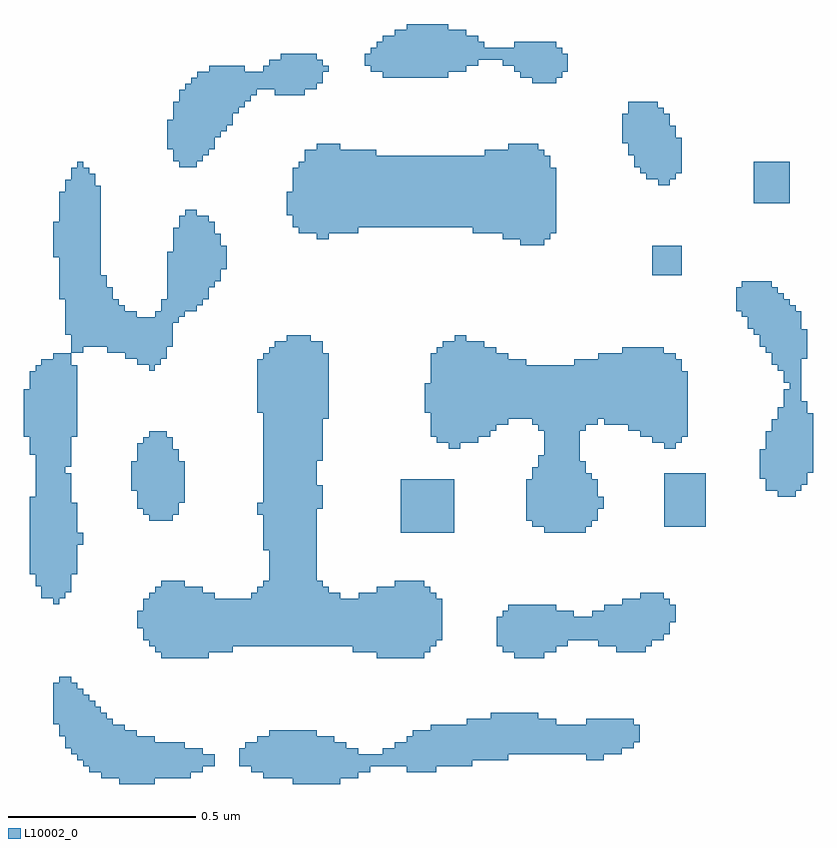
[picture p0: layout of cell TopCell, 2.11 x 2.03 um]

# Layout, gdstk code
import gdstk
lib = gdstk.Library(unit=1e-6, precision=1e-09)
def R(c, l, rs):  # rectangles x0, y0, x1, y1
    for r in rs: c.add(gdstk.rectangle(r[:2], r[2:], *l))
L10002_0 = (10002, 0)

topcell = lib.new_cell('TopCell')
R(topcell, L10002_0, [(0.976,0.736,1.071,0.752), (1.44,0.736,1.567,0.752), (0.928,0.752,1.167,0.768), (1.36,0.752,1.615,0.768), (0.896,0.768,1.199,0.784), (1.328,0.768,1.647,0.784), (1.744,0.768,1.823,0.784), (0.88,0.784,1.231,0.8), (1.296,0.784,1.919,0.815), (0.864,0.8,1.231,0.815), (1.919,0.8,2.015,0.815), (2.224,0.8,2.271,0.816), (0.864,0.815,1.199,0.816), (1.296,0.815,1.615,0.831), (1.68,0.815,2.015,0.831), (0.848,0.816,1.199,0.831), (2.015,0.816,2.319,0.831), (0.848,0.831,1.151,0.832), (1.312,0.831,1.583,0.847), (1.712,0.831,2.319,0.847), (0.832,0.832,1.151,0.847), (2.319,0.832,2.351,0.847), (0.832,0.847,1.071,0.863), (1.344,0.847,1.551,0.863), (1.744,0.847,2.351,0.863), (2.351,0.848,2.367,0.863), (0.832,0.863,1.023,0.864), (1.376,0.863,1.503,0.879), (1.76,0.863,2.367,0.879), (0.816,0.864,1.023,0.879), (0.816,0.879,0.991,0.895), (1.808,0.879,2.367,0.895), (0.816,0.895,0.959,0.896), (1.904,0.895,2.143,0.911), (2.224,0.895,2.351,0.911), (0.8,0.896,0.959,0.911), (0.8,0.911,0.943,0.927), (1.968,0.911,2.095,0.927), (0.8,0.927,0.927,0.943), (0.8,0.943,0.911,0.959), (0.8,0.959,0.895,0.975), (0.8,0.975,0.879,0.991), (0.8,0.991,0.863,1.007), (0.816,1.007,0.847,1.023), (1.088,1.072,1.215,1.088), (1.664,1.072,1.791,1.088), (2.032,1.072,2.111,1.088), (1.072,1.088,1.279,1.104), (1.6,1.088,1.807,1.104), (2,1.088,2.143,1.104), (2.304,1.088,2.383,1.104), (1.056,1.104,1.823,1.12), (1.984,1.104,2.175,1.183), (2.256,1.104,2.399,1.12), (1.04,1.12,1.839,1.152), (2.175,1.12,2.431,1.183), (2.431,1.136,2.447,1.183), (1.024,1.152,1.839,1.199), (2.447,1.168,2.463,1.183), (2,1.183,2.191,1.199), (2.24,1.183,2.463,1.199), (1.04,1.199,1.839,1.231), (2.016,1.199,2.143,1.215), (2.272,1.199,2.463,1.215), (2.32,1.215,2.447,1.231), (0.8,1.216,0.815,1.232), (1.056,1.231,1.231,1.247), (1.328,1.231,1.567,1.247), (1.616,1.231,1.823,1.247), (2.368,1.231,2.431,1.247), (0.768,1.232,0.831,1.264), (1.072,1.247,1.199,1.263), (1.344,1.247,1.535,1.263), (1.664,1.247,1.807,1.263), (0.831,1.248,0.847,1.264), (1.088,1.263,1.151,1.279), (1.36,1.263,1.519,1.279), (1.712,1.263,1.791,1.279), (0.752,1.264,0.847,1.296), (1.376,1.279,1.503,1.36), (0.736,1.296,0.863,1.487), (1.36,1.36,1.503,1.456), (0.863,1.376,0.879,1.407), (1.728,1.408,1.871,1.551), (2.112,1.408,2.223,1.424), (2.08,1.424,2.239,1.44), (2.432,1.424,2.543,1.567), (1.056,1.44,1.119,1.456), (2.064,1.44,2.255,1.551), (1.04,1.456,1.135,1.472), (1.344,1.456,1.503,1.487), (1.024,1.472,1.135,1.52), (1.503,1.472,1.519,1.487), (2.255,1.472,2.271,1.503), (0.736,1.487,0.847,1.503), (1.36,1.487,1.519,1.535), (1.135,1.488,1.151,1.52), (0.752,1.503,0.847,1.567), (2.736,1.504,2.783,1.52), (1.008,1.52,1.151,1.599), (2.704,1.52,2.799,1.552), (1.36,1.535,1.503,1.728), (2.799,1.536,2.815,1.552), (2.08,1.551,2.239,1.567), (2.688,1.552,2.815,1.631), (0.752,1.567,0.831,1.616), (2.08,1.567,2.223,1.583), (2.815,1.568,2.831,1.631), (2.096,1.583,2.223,1.599), (0.831,1.584,0.847,1.616), (1.024,1.599,1.135,1.631), (2.096,1.599,2.207,1.615), (1.503,1.6,1.519,1.728), (2.112,1.615,2.207,1.68), (0.736,1.616,0.847,1.664), (1.024,1.631,1.119,1.647), (2.704,1.631,2.831,1.679), (1.856,1.632,1.887,1.648), (2.432,1.632,2.463,1.648), (1.04,1.647,1.119,1.663), (1.824,1.648,1.935,1.664), (2.4,1.648,2.479,1.664), (1.056,1.663,1.103,1.679), (0.72,1.664,0.863,1.791), (1.808,1.664,1.967,1.728), (2.368,1.664,2.495,1.68), (2.72,1.679,2.831,1.711), (1.967,1.68,1.983,1.728), (2.096,1.68,2.223,1.696), (2.336,1.68,2.495,1.696), (1.983,1.696,2.015,1.728), (2.08,1.696,2.255,1.712), (2.272,1.696,2.495,1.712), (2.736,1.711,2.831,1.727), (1.519,1.712,1.535,1.728), (2.015,1.712,2.495,1.728), (2.736,1.727,2.815,1.743), (1.344,1.728,1.535,1.871), (1.792,1.728,2.495,1.807), (2.752,1.743,2.815,1.759), (2.752,1.759,2.799,1.791), (0.736,1.791,0.863,1.839), (2.768,1.791,2.799,1.808), (1.808,1.807,2.495,1.839), (2.752,1.808,2.799,1.84), (0.752,1.839,0.863,1.855), (1.808,1.839,2.479,1.855), (1.056,1.84,1.071,1.856), (2.736,1.84,2.799,1.856), (0.768,1.855,0.847,1.871), (1.808,1.855,2.063,1.871), (2.192,1.855,2.479,1.871), (1.024,1.856,1.087,1.872), (2.72,1.856,2.799,1.888), (0.8,1.871,0.847,1.887), (1.36,1.871,1.535,1.887), (1.808,1.871,2.015,1.887), (2.256,1.871,2.463,1.887), (0.992,1.872,1.103,1.888), (2.799,1.872,2.815,1.888), (1.376,1.887,1.519,1.903), (1.824,1.887,1.983,1.903), (2.32,1.887,2.431,1.903), (0.848,1.888,0.879,1.936), (0.944,1.888,1.103,1.904), (2.704,1.888,2.815,1.904), (1.392,1.903,1.519,1.919), (1.84,1.903,1.951,1.919), (0.879,1.904,1.119,1.936), (2.688,1.904,2.815,1.936), (1.424,1.919,1.487,1.935), (1.872,1.919,1.903,1.935), (0.832,1.936,1.119,1.983), (2.672,1.936,2.815,1.951), (2.672,1.951,2.799,1.952), (2.656,1.952,2.799,1.984), (1.119,1.968,1.135,1.983), (0.832,1.983,1.023,1.999), (1.072,1.983,1.135,1.999), (1.135,1.984,1.151,1.999), (2.64,1.984,2.799,1.999), (0.832,1.999,0.991,2.015), (1.088,1.999,1.151,2.031), (2.64,1.999,2.783,2), (1.151,2,1.183,2.031), (2.624,2,2.783,2.015), (0.832,2.015,0.975,2.031), (2.624,2.015,2.767,2.031), (1.183,2.016,1.199,2.031), (0.832,2.031,0.959,2.032), (1.104,2.031,1.199,2.159), (2.624,2.031,2.751,2.047), (0.816,2.032,0.959,2.063), (1.199,2.032,1.215,2.159), (2.624,2.047,2.735,2.063), (0.816,2.063,0.943,2.095), (2.64,2.063,2.719,2.079), (1.215,2.064,1.231,2.159), (1.231,2.08,1.247,2.159), (0.816,2.095,0.927,2.144), (2.4,2.096,2.479,2.175), (1.247,2.112,1.263,2.159), (0.8,2.144,0.927,2.239), (1.12,2.159,1.263,2.175), (1.12,2.175,1.247,2.207), (2.048,2.176,2.111,2.192), (1.504,2.192,1.535,2.208), (2,2.192,2.127,2.208), (1.12,2.207,1.231,2.223), (1.456,2.208,1.615,2.224), (1.92,2.208,2.143,2.224), (1.136,2.223,1.231,2.239), (1.44,2.224,2.143,2.256), (0.816,2.239,0.927,2.319), (1.136,2.239,1.215,2.255), (1.152,2.255,1.183,2.271), (1.424,2.256,2.143,2.319), (2.672,2.288,2.767,2.399), (0.832,2.319,0.927,2.335), (1.44,2.319,2.143,2.383), (0.832,2.335,0.911,2.351), (2.416,2.336,2.447,2.352), (0.848,2.351,0.911,2.367), (2.384,2.352,2.463,2.368), (0.848,2.367,0.895,2.383), (2.368,2.368,2.479,2.384), (0.864,2.383,0.879,2.399), (1.456,2.383,2.127,2.399), (1.136,2.384,1.183,2.4), (2.352,2.384,2.479,2.416), (1.472,2.399,2.127,2.415), (1.12,2.4,1.199,2.432), (1.472,2.415,1.663,2.431), (1.952,2.415,2.111,2.431), (1.199,2.416,1.215,2.432), (2.336,2.416,2.479,2.448), (1.504,2.431,1.567,2.447), (2.016,2.431,2.095,2.447), (1.104,2.432,1.231,2.511), (2.32,2.448,2.479,2.463), (2.32,2.463,2.463,2.495), (1.231,2.464,1.247,2.511), (1.247,2.48,1.263,2.511), (2.32,2.495,2.447,2.527), (1.263,2.496,1.279,2.511), (1.12,2.511,1.279,2.559), (2.336,2.527,2.431,2.543), (1.279,2.528,1.295,2.559), (2.336,2.543,2.415,2.559), (1.295,2.544,1.311,2.559), (1.136,2.559,1.311,2.591), (1.311,2.56,1.327,2.591), (1.327,2.576,1.343,2.591), (1.392,2.576,1.471,2.592), (1.152,2.591,1.343,2.607), (1.343,2.592,1.503,2.607), (1.168,2.607,1.503,2.623), (1.503,2.608,1.519,2.623), (2.08,2.608,2.143,2.624), (1.184,2.623,1.519,2.639), (1.68,2.624,1.855,2.64), (2.048,2.624,2.159,2.64), (1.216,2.639,1.311,2.655), (1.36,2.639,1.519,2.655), (1.519,2.64,1.535,2.655), (1.648,2.64,1.903,2.656), (2.032,2.64,2.175,2.656), (1.376,2.655,1.519,2.671), (1.632,2.656,1.935,2.687), (2,2.656,2.175,2.672), (1.408,2.671,1.503,2.687), (1.935,2.672,2.175,2.687), (1.648,2.687,2.159,2.703), (1.664,2.703,1.951,2.719), (2.032,2.703,2.143,2.719), (1.68,2.719,1.935,2.735), (1.712,2.735,1.903,2.751), (1.744,2.751,1.855,2.767)])

lib.write_gds('TopCell.gds')
